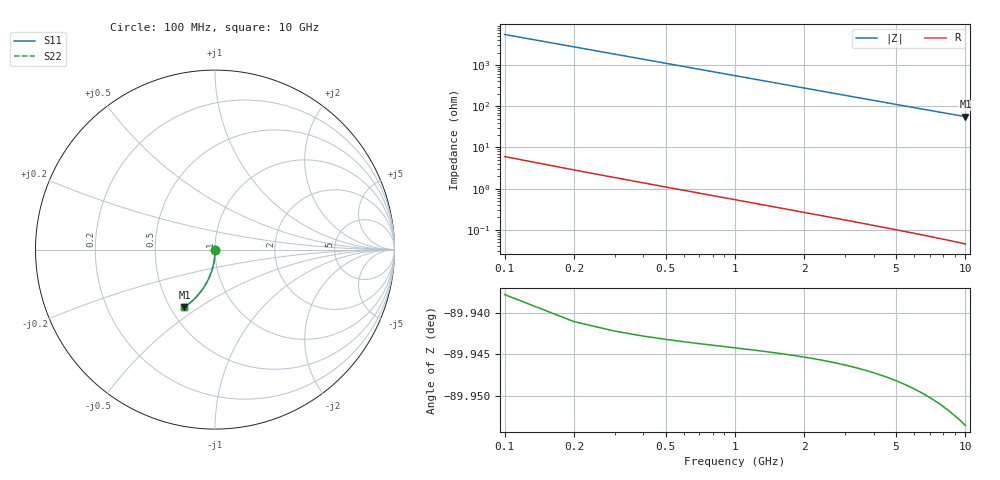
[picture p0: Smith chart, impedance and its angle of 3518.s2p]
# Hz S RI R 50.00
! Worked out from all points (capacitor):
!   100 points, 100 MHz to 10 GHz, reference 50 ohm
!   read as one part in shunt: C = 288 fF near 100 MHz
!   lowest |Z| = 56 ohm at 10 GHz (marker M1)
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1e8  0.00039 -0.00393  0.9996 -0.0051  0.9996 -0.0051  0.00039 -0.00393
2e8  0.000328 -0.00787  0.9995 -0.0102  0.9995 -0.0102  0.000328 -0.00787
3e8  0.000226 -0.0118  0.9994 -0.0153  0.9994 -0.0153  0.000226 -0.0118
4e8  8.24e-05 -0.0157  0.9992 -0.0204  0.9992 -0.0204  8.24e-05 -0.0157
5e8  -0.000101 -0.0197  0.999 -0.0255  0.999 -0.0255  -0.000101 -0.0197
6e8  -0.000325 -0.0236  0.9988 -0.0306  0.9988 -0.0306  -0.000325 -0.0236
7e8  -0.000588 -0.0275  0.9985 -0.0357  0.9985 -0.0357  -0.000588 -0.0275
8e8  -0.000892 -0.0314  0.9982 -0.0408  0.9982 -0.0408  -0.000892 -0.0314
9e8  -0.00124 -0.0353  0.9979 -0.0458  0.9979 -0.0458  -0.00124 -0.0353
1.1e9  -0.00204 -0.0432  0.997 -0.056  0.997 -0.056  -0.00204 -0.0432
1.4e9  -0.00355 -0.0548  0.9955 -0.0712  0.9955 -0.0712  -0.00355 -0.0548
1.8e9  -0.00611 -0.0703  0.9928 -0.0913  0.9928 -0.0913  -0.00611 -0.0703
2.1e9  -0.00844 -0.0818  0.9904 -0.1064  0.9904 -0.1064  -0.00844 -0.0818
2.5e9  -0.0121 -0.097  0.9866 -0.1262  0.9866 -0.1262  -0.0121 -0.097
2.9e9  -0.0163 -0.112  0.9822 -0.1459  0.9822 -0.1459  -0.0163 -0.112
3.4e9  -0.0225 -0.1305  0.9759 -0.1702  0.9759 -0.1702  -0.0225 -0.1305
4.2e9  -0.0341 -0.1591  0.9638 -0.2082  0.9638 -0.2082  -0.0341 -0.1591
5.1e9  -0.0497 -0.1898  0.9476 -0.2494  0.9476 -0.2494  -0.0497 -0.1898
5.9e9  -0.0656 -0.2155  0.931 -0.2846  0.931 -0.2846  -0.0656 -0.2155
6.7e9  -0.0833 -0.2396  0.9127 -0.3181  0.9127 -0.3181  -0.0833 -0.2396
8.4e9  -0.1257 -0.2849  0.8685 -0.3836  0.8685 -0.3836  -0.1257 -0.2849
1e10  -0.17 -0.3197  0.822 -0.4375  0.822 -0.4375  -0.17 -0.3197
